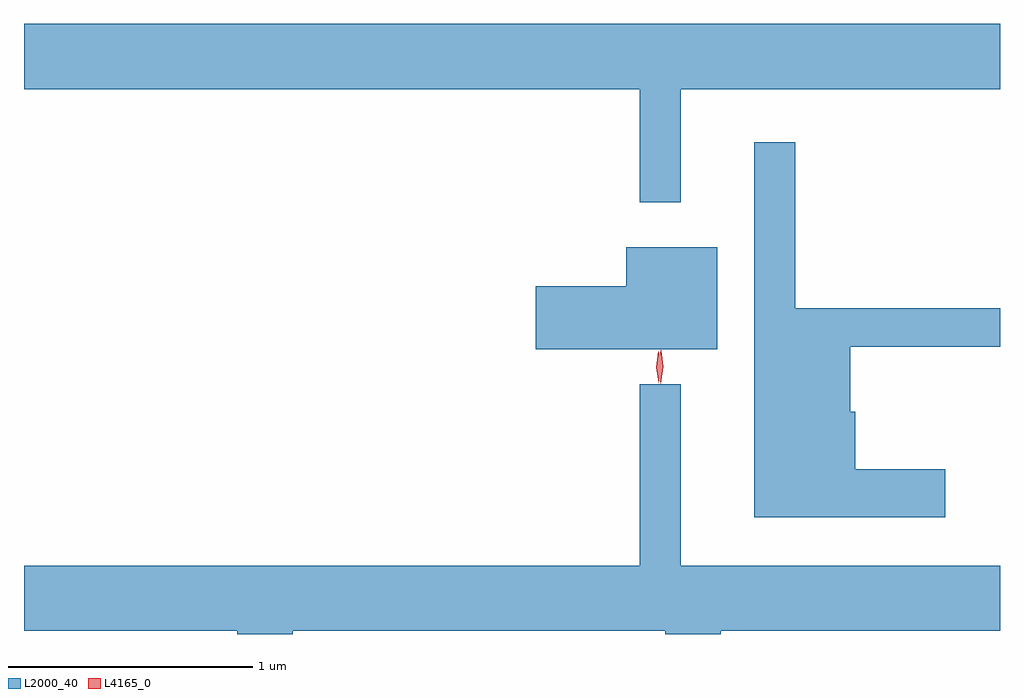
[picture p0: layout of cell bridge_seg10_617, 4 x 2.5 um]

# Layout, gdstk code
import gdstk
lib = gdstk.Library(unit=1e-6, precision=1e-09)
def P(c, l, *ps):  # polygons
    for p in ps: c.add(gdstk.Polygon(p, *l))
L2000_40 = (2000, 40)
L4165_0 = (4165, 0)

bridge_seg10_617 = lib.new_cell('bridge_seg10_617')
P(bridge_seg10_617, L2000_40, [(638.799,2107.256),(640.108,2107.256),(640.108,2107.524),(636.108,2107.524),(636.108,2107.256),(638.631,2107.256),(638.631,2106.793),(638.799,2106.793)],
  [(639.884,2105.699),(639.514,2105.699),(639.514,2105.934),(639.494,2105.934),(639.494,2106.201),(640.108,2106.201),(640.108,2106.359),(639.269,2106.359),(639.269,2107.038),(639.101,2107.038),(639.101,2105.501),(639.884,2105.501)],
  [(638.949,2106.609),(638.576,2106.609),(638.576,2106.449),(638.206,2106.449),(638.206,2106.191),(638.949,2106.191)],
  [(637.209,2105.036),(638.736,2105.036),(638.736,2105.023),(638.964,2105.023),(638.964,2105.036),(640.108,2105.036),(640.108,2105.304),(638.799,2105.304),(638.799,2106.048),(638.631,2106.048),(638.631,2105.304),(636.108,2105.304),(636.108,2105.036),(636.981,2105.036),(636.981,2105.023),(637.209,2105.023)])
P(bridge_seg10_617, L4165_0, [(638.717,2106.05),(638.717,2106.05),(638.708,2106.118),(638.718,2106.186),(638.719,2106.186),(638.72,2106.186),(638.728,2106.118),(638.718,2106.05)],
  [(638.709,2106.053),(638.699,2106.116),(638.708,2106.18),(638.709,2106.18),(638.71,2106.18),(638.719,2106.116),(638.71,2106.053),(638.71,2106.053)])

lib.write_gds('bridge_seg10_617.gds')
